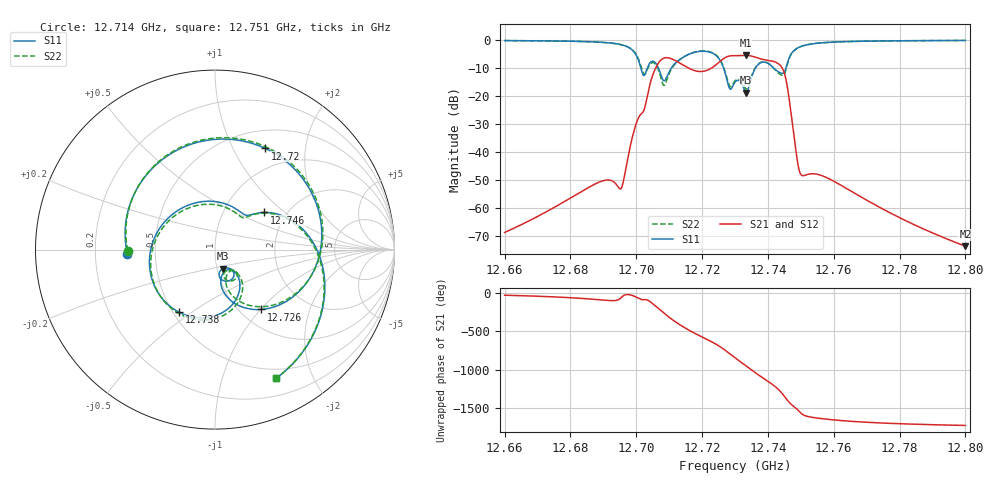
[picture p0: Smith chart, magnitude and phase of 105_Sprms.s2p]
! TOUCHSTONE file generated by CST MICROWAVE STUDIO
! Date and time: Wed Jul 31 16:03:41 2024
! Project name: WaveGuide_BPF-Ver4.1_U-shape_Ku_T3_C4_CWA_2.cst
! Parameters = {cavity_h=16; cavity_l0=10; cavity_l1=15.2061; cavity_l2=16.8652; cavity_l3=17.1153; cavity_l4=17.3016; cavity_l5=17.1353; cavity_l6=17.615; cavity_r=2.5; cavity_screw_l=0.5; cavity_screw_r=1.5; cavity_w=8; iris_h00=0; iris_h01=8.8372; iris_h112=0; iris_h12=5.5933; iris_h211=3.669; ir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
! Header version: 2018
! Port assignment regex: !\s*Touchstone port\s*([0-9]+)\s*=\s*(CST MWS port|CST DS port)\s*([0-9]+|Zmin|Zmax)\s*\(\"(.*)\"\)(\s*mode\s*([0-9]+))?.*
! Touchstone port assignment:
! Touchstone port 1 = CST MWS port 1 ("")
! Touchstone port 2 = CST MWS port 2 ("")
# GHz S RI R 50
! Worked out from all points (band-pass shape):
!   5001 points, 12.66 GHz to 12.8 GHz, reference 50 ohm
!   highest |S21| = -5.46 dB at 12.733 GHz (marker M1); lowest = -73.7 dB at 12.8 GHz (marker M2)
!   |S21| within 3 dB of the highest: 12.70661 GHz to 12.71358 GHz (6.972 MHz wide, 0.0549 % of centre); 12.72463 GHz to 12.74316 GHz (18.53 MHz wide, 0.146 % of centre)
!   lowest |S11| = -18.8 dB at 12.733 GHz (marker M3), VSWR 1.26, Z = 53.5 - j11.4 ohm
!   |S11| at or under -10 dB: 12.70674 GHz to 12.71064 GHz (3.905 MHz wide, 0.0307 % of centre); 12.72653 GHz to 12.73622 GHz (9.692 MHz wide, 0.0761 % of centre); 12.74176 GHz to 12.74547 GHz (3.704 MHz wide, 0.0291 % of centre) (the widest 3 of 4)
!   |S22| runs from -17.5 to -0.2 dB; largest |S21 - S12| = 1e-09
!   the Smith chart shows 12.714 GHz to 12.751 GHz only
!   S11 on the Smith chart (normalised r, x): 12.714 GHz: 0.34, -0.02; 12.72 GHz: 0.72, +1.35; 12.726 GHz: 1.24, -1.00; 12.738 GHz: 0.54, -0.45; 12.746 GHz: 1.55, +0.73; 12.751 GHz: 0.39, -1.51
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12.66  0.4154 0.885  0.000316 -0.000179  0.000316 -0.000179  0.4169 0.8844
12.68335  0.855 0.3957  0.000642 -0.00185  0.000642 -0.00185  0.8553 0.3953
12.69545  0.6705 -0.4804  0.00112 -0.00194  0.00112 -0.00194  0.6699 -0.4821
12.69878  0.1187 -0.6525  0.0151 -0.00979  0.0151 -0.00979  0.1226 -0.6587
12.70102  -0.3117 -0.2144  0.0107 -0.043  0.0107 -0.043  -0.3207 -0.2456
12.70306  0.1309 0.2506  0.00242 -0.0823  0.00242 -0.0823  0.0778 0.2573
12.70668  0.1166 -0.3004  -0.3606 0.1291  -0.3606 0.1291  0.1014 -0.2811
12.70869  0.0637 -0.1793  0.0274 0.4803  0.0274 0.4803  0.062 -0.1466
12.71076  -0.00922 -0.3241  0.4377 0.1436  0.4377 0.1436  0.000713 -0.3087
12.71415  -0.4876 -0.0247  0.0755 -0.3524  0.0755 -0.3524  -0.4858 -0.0058
12.71967  0.281 0.5633  -0.2454 0.1208  -0.2454 0.1208  0.2823 0.5729
12.7256  0.2555 -0.3337  0.4045 0.1204  0.4045 0.1204  0.2939 -0.3153
12.73  0.1061 -0.141  -0.2921 -0.4371  -0.2921 -0.4371  0.1238 -0.1387
12.73319  0.0352 -0.1119  -0.3728 0.381  -0.3728 0.381  0.0566 -0.1231
12.73342  0.0453 -0.1056  -0.3217 0.4248  -0.3217 0.4248  0.0651 -0.1172
12.73843  -0.1994 -0.3495  0.4138 -0.1784  0.4138 -0.1784  -0.1668 -0.3725
12.7428  -0.0927 0.2638  -0.3691 -0.1246  -0.3691 -0.1246  -0.1133 0.2427
12.74565  0.2749 0.2069  0.0957 0.1481  0.0957 0.1481  0.25 0.2021
12.7508  0.3417 -0.7166  -0.00323 -0.00194  -0.00323 -0.00194  0.3415 -0.7158
12.75335  0.0113 -0.8527  -0.00408 -9.42e-05  -0.00408 -9.42e-05  0.0107 -0.8528
12.77668  -0.9548 -0.1448  -0.000188 0.000819  -0.000188 0.000819  -0.9549 -0.1435
12.8  -0.9336 0.3064  5.42e-05 0.0002  5.42e-05 0.0002  -0.9328 0.3088
